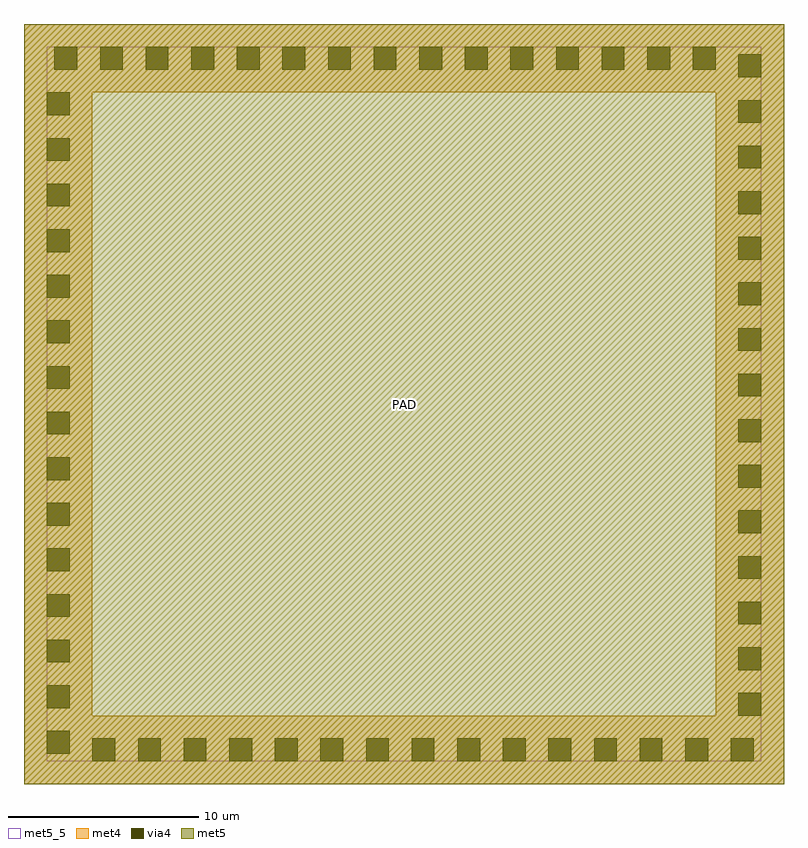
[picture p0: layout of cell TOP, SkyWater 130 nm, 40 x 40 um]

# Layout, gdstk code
import gdstk
lib = gdstk.Library(unit=1e-6, precision=1e-09)
def R(c, l, rs):  # rectangles x0, y0, x1, y1
    for r in rs: c.add(gdstk.rectangle(r[:2], r[2:], *l))
def A(c, l, x, y, w, h, nx, ny, dx, dy):  # array of equal rectangles
    R(c, l, [(x+i*dx, y+j*dy, x+i*dx+w, y+j*dy+h) for i in range(nx) for j in range(ny)])
met4 = (71, 20)
via4 = (71, 44)
met5_5 = (72, 5)
met5 = (72, 20)

top = lib.new_cell('TOP')
R(top, met4, [(0,0,40,3.6), (0,0,3.6,40), (36.4,0,40,40), (0,36.4,40,40)])
A(top, via4, 3.6, 1.2, 1.2, 1.2, 15, 1, 2.4, 0)
A(top, via4, 1.2, 1.6, 1.2, 1.2, 1, 15, 0, 2.4)
A(top, via4, 37.6, 3.6, 1.2, 1.2, 1, 15, 0, 2.4)
A(top, via4, 1.6, 37.6, 1.2, 1.2, 15, 1, 2.4, 0)
R(top, met5_5, [(1.2,1.2,38.8,38.8)])
R(top, met5, [(0,0,40,40)])
top.add(gdstk.Label('PAD', (20,20), layer=72, texttype=5))

lib.write_gds('TOP.gds')
